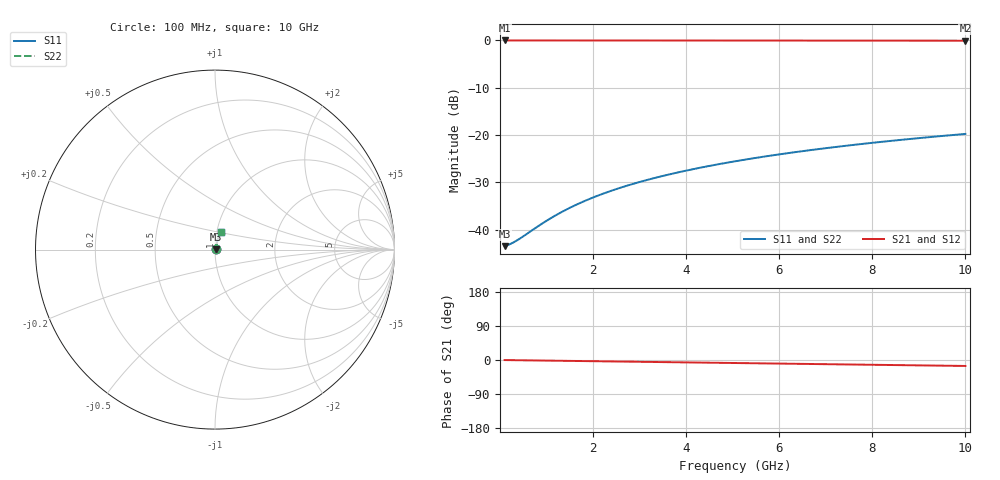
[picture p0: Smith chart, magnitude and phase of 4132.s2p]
# Hz S RI R 50.00
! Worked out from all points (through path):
!   100 points, 100 MHz to 10 GHz, reference 50 ohm
!   highest |S21| = -0.06 dB at 100 MHz (marker M1); lowest = -0.1 dB at 10 GHz (marker M2)
!   group delay of S21, straight-line fit = 4.37 ps
!   lowest |S11| = -43.4 dB at 100 MHz (marker M3), VSWR 1.01, Z = 50.7 + j0.104 ohm
!   |S11| at or under -10 dB: start of sweep to end of sweep
!   |S22| runs from -43.4 to -19.8 dB; largest |S21 - S12| = 0
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1e8  0.00666 0.00102  0.9933 -0.00274  0.9933 -0.00274  0.00666 0.00102
2e8  0.00672 0.00205  0.9933 -0.00547  0.9933 -0.00547  0.00672 0.00205
3e8  0.00676 0.00307  0.9932 -0.00821  0.9932 -0.00821  0.00676 0.00307
4e8  0.00681 0.00409  0.9932 -0.0109  0.9932 -0.0109  0.00681 0.00409
9e8  0.00708 0.00921  0.9928 -0.0246  0.9928 -0.0246  0.00708 0.00921
1.2e9  0.0073 0.0123  0.9925 -0.0328  0.9925 -0.0328  0.0073 0.0123
1.5e9  0.00756 0.0153  0.9921 -0.041  0.9921 -0.041  0.00756 0.0153
1.8e9  0.00787 0.0184  0.9916 -0.0492  0.9916 -0.0492  0.00787 0.0184
2.1e9  0.00822 0.0214  0.9911 -0.0574  0.9911 -0.0574  0.00822 0.0214
2.5e9  0.00877 0.0255  0.9903 -0.0683  0.9903 -0.0683  0.00877 0.0255
2.9e9  0.00941 0.0295  0.9893 -0.0792  0.9893 -0.0792  0.00941 0.0295
3.4e9  0.0103 0.0345  0.9879 -0.0928  0.9879 -0.0928  0.0103 0.0345
3.8e9  0.0112 0.0385  0.9867 -0.1036  0.9867 -0.1036  0.0112 0.0385
4.2e9  0.0121 0.0425  0.9853 -0.1145  0.9853 -0.1145  0.0121 0.0425
4.6e9  0.0131 0.0465  0.9837 -0.1253  0.9837 -0.1253  0.0131 0.0465
5.1e9  0.0145 0.0514  0.9816 -0.1387  0.9816 -0.1387  0.0145 0.0514
5.9e9  0.0169 0.0592  0.9778 -0.1602  0.9778 -0.1602  0.0169 0.0592
6.7e9  0.0198 0.0668  0.9735 -0.1815  0.9735 -0.1815  0.0198 0.0668
7.5e9  0.0229 0.0743  0.9687 -0.2027  0.9687 -0.2027  0.0229 0.0743
8.4e9  0.0268 0.0826  0.9626 -0.2263  0.9626 -0.2263  0.0268 0.0826
9.2e9  0.0307 0.0897  0.9567 -0.2471  0.9567 -0.2471  0.0307 0.0897
1e10  0.0348 0.0967  0.9503 -0.2677  0.9503 -0.2677  0.0348 0.0967
